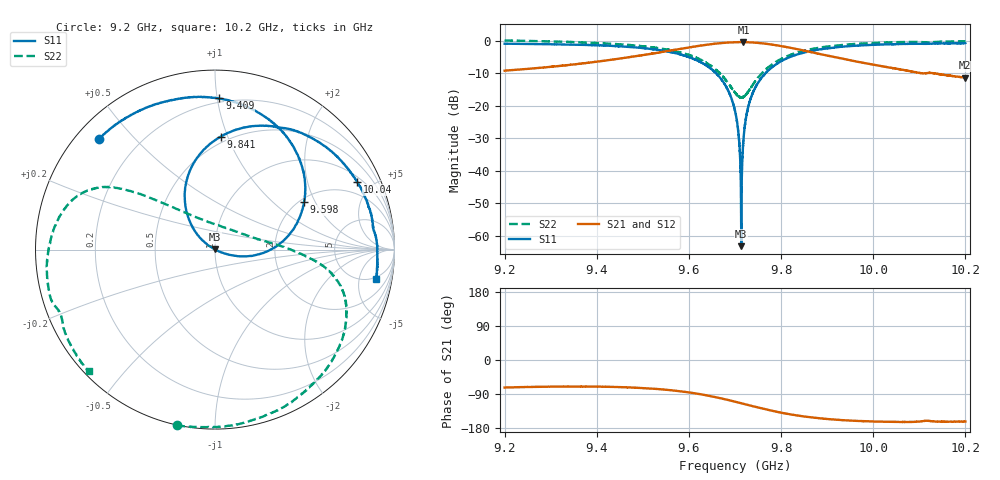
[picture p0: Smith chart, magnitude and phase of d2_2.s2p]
!Agilent Technologies,N5242A,MY51221714,A.09.90.19
!Agilent N5242A: A.09.90.19
!Date: Tuesday, March 26, 2024 16:10:25
!Correction: S11(Full 2 Port(1,2))
!S21(Full 2 Port(1,2))
!S12(Full 2 Port(1,2))
!S22(Full 2 Port(1,2))
!S2P File: Measurements: S11, S21, S12, S22:
# Hz S  dB  R 50
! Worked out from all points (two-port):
!   16001 points, 9.2 GHz to 10.2 GHz, reference 50 ohm
!   highest |S21| = -0.48 dB at 9.718 GHz (marker M1); lowest = -11.4 dB at 10.2 GHz (marker M2)
!   |S21| within 3 dB of the highest: 9.542687 GHz to 9.542822 GHz (134.6 kHz wide, 0.00141 % of centre); 9.543 GHz to 9.863 GHz (319.6 MHz wide, 3.29 % of centre)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
!   lowest |S11| = -63.2 dB at 9.714 GHz (marker M3), VSWR 1.00, Z = 50 + j0.0636 ohm
!   |S11| at or under -10 dB: 9.6585 GHz to 9.658501 GHz (1.352 kHz wide, 1.4e-05 % of centre); 9.659 GHz to 9.767 GHz (107.9 MHz wide, 1.11 % of centre); 9.766614 GHz to 9.766627 GHz (13.45 kHz wide, 0.000138 % of centre)
!   |S22| runs from -17.5 to 0.0 dB; largest |S21 - S12| = 0.013
!   S11 on the Smith chart (normalised r, x): 9.2 GHz: 0.07, +0.40; 9.409 GHz: 0.17, +1.01; 9.598 GHz: 2.11, +1.63; 9.841 GHz: 0.45, +0.95; 10.04 GHz: 1.25, +4.06; 10.2 GHz: 4.35, -8.75
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9.2e9  -0.98 136.3  -9.26 -72.7  -9.24 -73.5  0.02 -102.3
9.366688e9  -1.31 99.0  -7.08 -70.1  -7.07 -70.7  -0.59 -57.6
9.409312e9  -1.48 88.4  -6.32 -70.4  -6.31 -71.1  -0.83 -46.9
9.533375e9  -2.90 52.0  -3.72 -76.7  -3.70 -77.3  -2.31 -19.5
9.59825e9  -5.00 28.0  -2.17 -85.3  -2.15 -85.9  -4.35 -8.5
9.665125e9  -10.99 -2.8  -0.85 -100.0  -0.84 -100.6  -9.72 5.8
9.68625e9  -15.67 -13.3  -0.60 -105.9  -0.59 -106.5  -13.35 18.5
9.7e9  -21.56 -20.2  -0.50 -110.0  -0.50 -110.6  -15.94 38.0
9.706188e9  -26.85 -22.3  -0.50 -111.8  -0.48 -112.5  -16.97 51.1
9.710438e9  -34.55 -23.1  -0.49 -113.2  -0.47 -113.8  -17.39 62.0
9.713625e9  -63.17 66.3  -0.50 -114.2  -0.48 -114.8  -17.49 70.2
9.718438e9  -30.44 147.8  -0.48 -115.7  -0.48 -116.3  -17.22 82.9
9.721375e9  -26.23 147.1  -0.49 -116.6  -0.49 -117.2  -16.97 90.7
9.727438e9  -21.08 143.3  -0.53 -118.4  -0.51 -119.1  -15.93 103.9
9.74825e9  -13.36 131.5  -0.70 -124.8  -0.70 -125.4  -11.69 128.4
9.786188e9  -7.59 112.2  -1.36 -135.5  -1.36 -136.1  -6.78 141.3
9.84125e9  -4.00 87.1  -2.82 -147.5  -2.83 -148.1  -3.43 149.0
9.866688e9  -3.15 77.0  -3.59 -151.7  -3.60 -152.2  -2.60 152.3
1.003338e10  -1.17 26.6  -8.26 -163.0  -8.24 -163.6  -0.57 -176.7
1.003762e10  -1.15 25.5  -8.35 -163.1  -8.35 -163.7  -0.55 -175.8
1.019981e10  -0.79 -10.5  -11.40 -162.4  -11.39 -162.9  -0.20 -136.2
1.02e10  -0.79 -10.5  -11.39 -162.4  -11.40 -163.0  -0.20 -136.2
